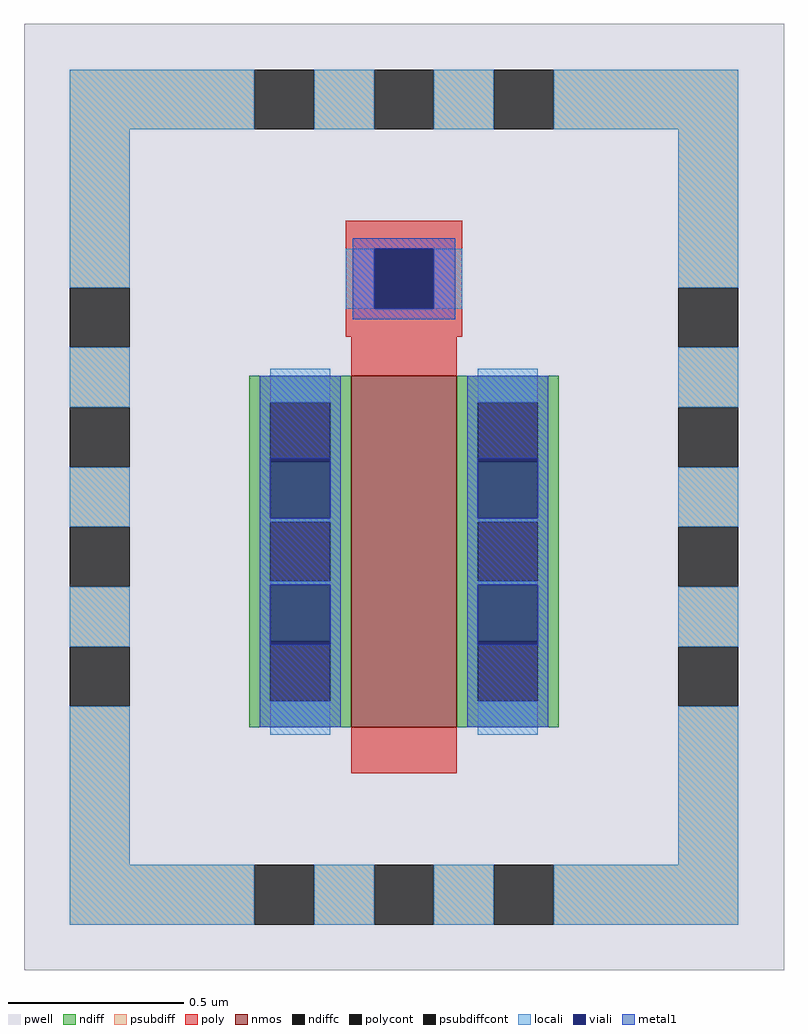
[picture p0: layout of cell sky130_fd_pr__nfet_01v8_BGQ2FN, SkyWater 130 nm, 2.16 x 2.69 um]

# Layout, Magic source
magic
tech sky130A
magscale 1 2
<< pwell >>
rect -216 -269 216 269
<< nmos >>
rect -30 -131 30 69
<< ndiff >>
rect -88 54 -30 69
rect -88 20 -76 54
rect -42 20 -30 54
rect -88 -14 -30 20
rect -88 -48 -76 -14
rect -42 -48 -30 -14
rect -88 -82 -30 -48
rect -88 -116 -76 -82
rect -42 -116 -30 -82
rect -88 -131 -30 -116
rect 30 54 88 69
rect 30 20 42 54
rect 76 20 88 54
rect 30 -14 88 20
rect 30 -48 42 -14
rect 76 -48 88 -14
rect 30 -82 88 -48
rect 30 -116 42 -82
rect 76 -116 88 -82
rect 30 -131 88 -116
<< ndiffc >>
rect -76 20 -42 54
rect -76 -48 -42 -14
rect -76 -116 -42 -82
rect 42 20 76 54
rect 42 -48 76 -14
rect 42 -116 76 -82
<< psubdiff >>
rect -190 209 -85 243
rect -51 209 -17 243
rect 17 209 51 243
rect 85 209 190 243
rect -190 119 -156 209
rect 156 119 190 209
rect -190 51 -156 85
rect -190 -17 -156 17
rect -190 -85 -156 -51
rect -190 -209 -156 -119
rect 156 51 190 85
rect 156 -17 190 17
rect 156 -85 190 -51
rect 156 -209 190 -119
rect -190 -243 -85 -209
rect -51 -243 -17 -209
rect 17 -243 51 -209
rect 85 -243 190 -209
<< psubdiffcont >>
rect -85 209 -51 243
rect -17 209 17 243
rect 51 209 85 243
rect -190 85 -156 119
rect 156 85 190 119
rect -190 17 -156 51
rect -190 -51 -156 -17
rect -190 -119 -156 -85
rect 156 17 190 51
rect 156 -51 190 -17
rect 156 -119 190 -85
rect -85 -243 -51 -209
rect -17 -243 17 -209
rect 51 -243 85 -209
<< poly >>
rect -33 141 33 157
rect -33 107 -17 141
rect 17 107 33 141
rect -33 91 33 107
rect -30 69 30 91
rect -30 -157 30 -131
<< polycont >>
rect -17 107 17 141
<< locali >>
rect -190 209 -85 243
rect -51 209 -17 243
rect 17 209 51 243
rect 85 209 190 243
rect -190 119 -156 209
rect -33 107 -17 141
rect 17 107 33 141
rect 156 119 190 209
rect -190 51 -156 85
rect -190 -17 -156 17
rect -190 -85 -156 -51
rect -190 -209 -156 -119
rect -76 54 -42 73
rect -76 -14 -42 -12
rect -76 -50 -42 -48
rect -76 -135 -42 -116
rect 42 54 76 73
rect 42 -14 76 -12
rect 42 -50 76 -48
rect 42 -135 76 -116
rect 156 51 190 85
rect 156 -17 190 17
rect 156 -85 190 -51
rect 156 -209 190 -119
rect -190 -243 -85 -209
rect -51 -243 -17 -209
rect 17 -243 51 -209
rect 85 -243 190 -209
<< viali >>
rect -17 107 17 141
rect -76 20 -42 22
rect -76 -12 -42 20
rect -76 -82 -42 -50
rect -76 -84 -42 -82
rect 42 20 76 22
rect 42 -12 76 20
rect 42 -82 76 -50
rect 42 -84 76 -82
<< metal1 >>
rect -29 141 29 147
rect -29 107 -17 141
rect 17 107 29 141
rect -29 101 29 107
rect -82 22 -36 69
rect -82 -12 -76 22
rect -42 -12 -36 22
rect -82 -50 -36 -12
rect -82 -84 -76 -50
rect -42 -84 -36 -50
rect -82 -131 -36 -84
rect 36 22 82 69
rect 36 -12 42 22
rect 76 -12 82 22
rect 36 -50 82 -12
rect 36 -84 42 -50
rect 76 -84 82 -50
rect 36 -131 82 -84
<< properties >>
string FIXED_BBOX -173 -226 173 226
<< end >>
